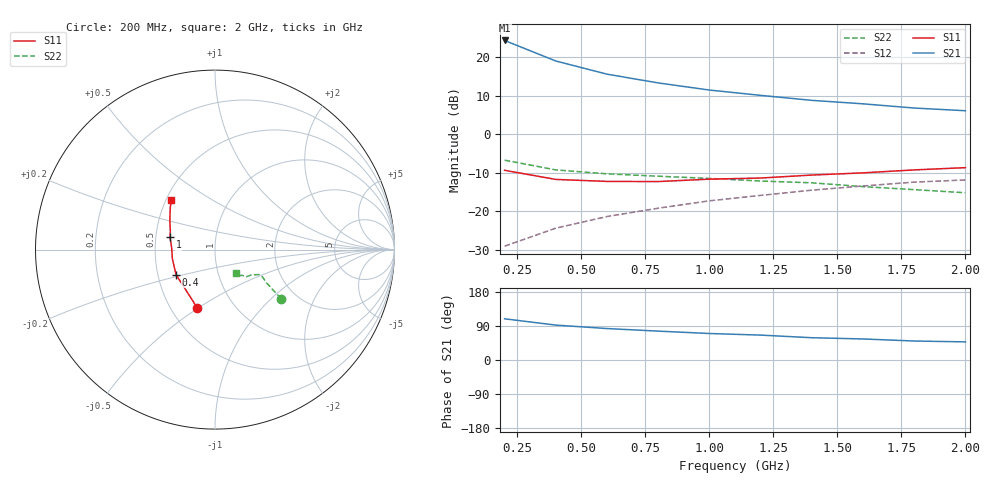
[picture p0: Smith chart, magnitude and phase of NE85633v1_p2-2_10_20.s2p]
! NEC Compound Semiconductor Devices Ltd.
! 20. August 2002
! NE85633/2SC3356
! NPN Silicon Transistor
! Vce = 10 V  Ic = 20 mA
# GHz  S  MA  R  50
!  f  S11  S21  S12  S22
!  GHz  MAG  ANG  MAG  ANG  MAG  ANG  MAG  ANG
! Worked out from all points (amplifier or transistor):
!   10 points, 200 MHz to 2 GHz, reference 50 ohm
!   highest |S21| = 24.4 dB at 200 MHz (marker M1)
!   |S21| within 3 dB of that: start of sweep to 312.3 MHz
!   unconditionally stable (mu >= 1): 548.1 MHz to end of sweep
!   at 400 MHz: K = 0.95, MSG = 21.7 dB, |S12| = -24.4 dB
!   at 1.2 GHz: K = 1.04, MAG = 11.7 dB, |S12| = -15.9 dB
!   at 2 GHz: K = 1.02, MAG = 8.2 dB, |S12| = -11.9 dB
!   S11 on the Smith chart (normalised r, x): 200 MHz: 0.67, -0.49; 400 MHz: 0.62, -0.19; 1 GHz: 0.59, +0.09; 2 GHz: 0.53, +0.34
0.2  0.339 -107.0  16.52 108.7  0.035 66.1  0.459 -36.6
0.4  0.258 -147.3  8.928 92.1  0.06 71.0  0.343 -32.9
0.6  0.243 -167.7  6.022 83.0  0.085 71.9  0.305 -29.9
0.8  0.242 177.0  4.633 76.2  0.109 72.2  0.284 -29.4
1  0.26 164.5  3.744 69.9  0.136 70.4  0.266 -31.7
1.2  0.269 157.6  3.193 65.7  0.16 69.9  0.246 -35.0
1.4  0.294 148.7  2.75 58.8  0.187 66.7  0.233 -40.4
1.6  0.314 143.1  2.479 55.5  0.212 65.2  0.208 -43.6
1.8  0.343 136.5  2.185 50.1  0.238 62.4  0.19 -50.5
2  0.367 131.4  2.016 47.8  0.254 61.6  0.173 -48.3
